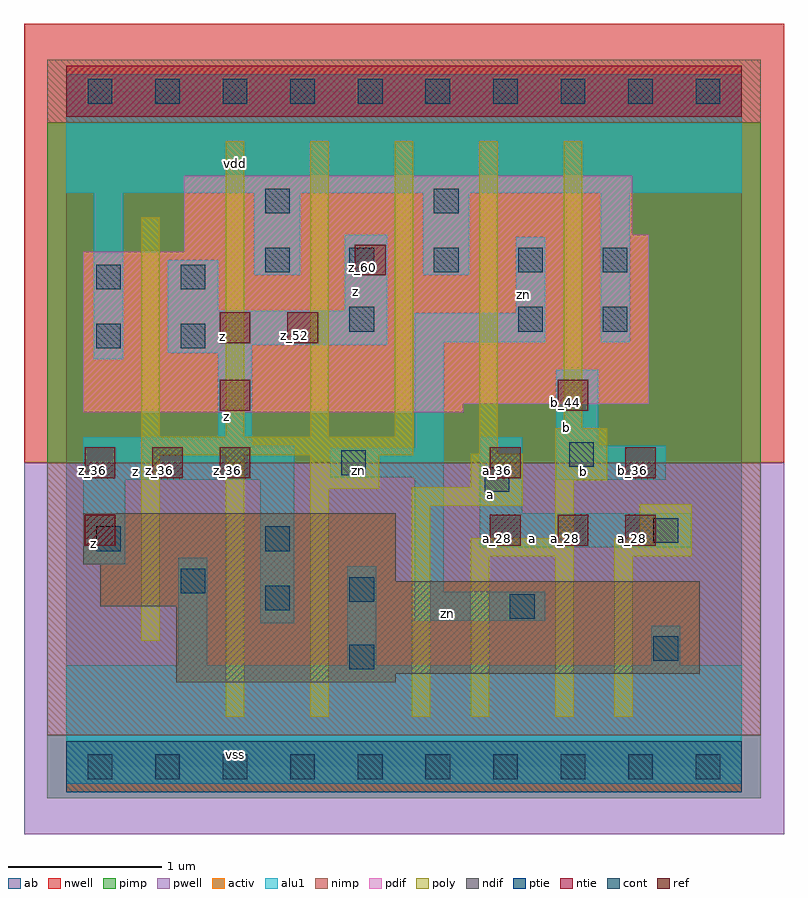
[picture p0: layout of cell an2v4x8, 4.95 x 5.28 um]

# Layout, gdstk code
import gdstk
lib = gdstk.Library(unit=1e-6, precision=2.5e-09)
def R(c, l, rs):  # rectangles x0, y0, x1, y1
    for r in rs: c.add(gdstk.rectangle(r[:2], r[2:], *l))
def A(c, l, x, y, w, h, nx, ny, dx, dy):  # array of equal rectangles
    R(c, l, [(x+i*dx, y+j*dy, x+i*dx+w, y+j*dy+h) for i in range(nx) for j in range(ny)])
ndif = (3, 0)
pdif = (4, 0)
ntie = (5, 0)
ptie = (6, 0)
ref = (24, 0)
cont = (25, 0)
pwell = (41, 0)
nwell = (42, 0)
activ = (43, 0)
pimp = (44, 0)
nimp = (45, 0)
poly = (46, 0)
alu1 = (49, 0)
ab = (63, 0)

an2v4x8 = lib.new_cell('an2v4x8')
R(an2v4x8, ndif, [(0.715,0.55,2.145,0.605), (0.715,0.605,4.125,1.045), (0.22,1.045,4.125,1.21), (0.22,1.21,2.145,1.32), (0.11,1.32,2.145,1.65)])
R(an2v4x8, pdif, [(0.11,2.31,2.585,2.365), (0.11,2.365,3.795,3.355), (0.77,3.355,3.795,3.465), (0.77,3.465,3.685,3.85)])
R(an2v4x8, ntie, [(0,4.235,4.4,4.565)])
R(an2v4x8, ptie, [(0,-0.165,4.4,0.165)])
A(an2v4x8, ref, 2.76, 1.44, 0.2, 0.2, 3, 1, 0.44, 0)
A(an2v4x8, ref, 0.12, 1.88, 0.2, 0.2, 3, 1, 0.44, 0)
R(an2v4x8, ref, [(0.12,1.44,0.32,1.64), (2.76,1.88,2.96,2.08), (3.64,1.88,3.84,2.08), (1,2.32,1.2,2.52), (3.2,2.32,3.4,2.52), (1,2.76,1.2,2.96), (1.44,2.76,1.64,2.96), (1.88,3.2,2.08,3.4)])
A(an2v4x8, cont, 0.14, -0.08, 0.16, 0.16, 10, 2, 0.44, 4.4)
A(an2v4x8, cont, 1.295, 3.22, 0.16, 0.16, 5, 1, 0.55, 0)
R(an2v4x8, cont, [(1.845,0.635,2.005,0.795), (3.825,0.69,3.985,0.85), (2.89,0.965,3.05,1.125), (1.295,1.02,1.455,1.18), (1.845,1.075,2.005,1.235), (0.745,1.13,0.905,1.29), (0.195,1.405,0.355,1.565), (1.295,1.405,1.455,1.565), (3.825,1.46,3.985,1.62), (2.725,1.79,2.885,1.95), (1.79,1.9,1.95,2.06), (3.275,1.955,3.435,2.115), (0.195,2.725,0.355,2.885), (0.745,2.725,0.905,2.885), (1.845,2.835,2.005,2.995), (2.945,2.835,3.105,2.995), (3.495,2.835,3.655,2.995), (0.195,3.11,0.355,3.27), (0.745,3.11,0.905,3.27), (1.295,3.605,1.455,3.765), (2.395,3.605,2.555,3.765)])
R(an2v4x8, pwell, [(-0.275,-0.44,4.675,1.98)])
R(an2v4x8, nwell, [(-0.275,1.98,4.675,4.84)])
R(an2v4x8, activ, [(0,-0.165,4.4,0.165), (0.715,0.55,2.145,0.605), (0.715,0.605,4.125,1.045), (0.22,1.045,4.125,1.21), (0.22,1.21,2.145,1.32), (0.11,1.32,2.145,1.65), (0.11,2.31,2.585,2.365), (0.11,2.365,3.795,3.355), (0.77,3.355,3.795,3.465), (0.77,3.465,3.685,3.85), (0,4.235,4.4,4.565)])
R(an2v4x8, pimp, [(-0.125,-0.205,4.525,0.205), (-0.125,1.98,4.525,4.195)])
R(an2v4x8, nimp, [(-0.125,0.205,4.525,1.98), (-0.125,4.195,4.525,4.605)])
A(an2v4x8, poly, 1.04, 2.15, 0.12, 1.925, 3, 1, 0.55, 0)
R(an2v4x8, poly, [(1.04,0.325,1.16,2.03), (1.59,0.325,1.71,1.81), (2.25,0.325,2.37,1.7), (2.635,0.325,2.755,1.37), (3.185,0.325,3.305,1.37), (3.57,0.325,3.69,1.37), (0.49,0.82,0.61,2.03), (2.635,1.37,3.305,1.49), (3.57,1.37,4.075,1.49), (3.185,1.49,3.305,1.865), (3.735,1.49,4.075,1.71), (2.25,1.7,2.975,1.82), (1.59,1.81,2.04,2.03), (2.635,1.82,2.975,2.04), (3.185,1.865,3.525,2.205), (0.49,2.03,2.26,2.15), (2.69,2.04,2.81,4.075), (0.49,2.15,0.61,3.58), (3.24,2.205,3.36,4.075)])
R(an2v4x8, alu1, [(0,-0.11,4.4,0.66), (0.73,0.66,0.92,1.36), (1.83,0.66,2.02,1.305), (3.81,0.66,4,0.92), (1.265,0.935,1.485,1.87), (2.27,0.95,3.12,1.14), (2.27,1.14,2.46,1.885), (0.11,1.32,0.385,1.87), (2.695,1.43,4.07,1.65), (2.695,1.65,2.97,2.145), (0.11,1.87,1.485,2.09), (3.19,1.87,3.905,2.09), (1.72,1.885,2.46,2.075), (2.27,2.075,2.46,2.765), (0.11,2.09,1.21,2.145), (3.19,2.09,3.465,2.585), (0.99,2.145,1.21,2.695), (0.18,2.655,0.37,3.74), (0.66,2.695,1.21,2.75), (0.66,2.75,2.09,2.97), (2.27,2.765,3.12,2.955), (3.48,2.765,3.67,3.74), (2.93,2.955,3.12,3.45), (0.66,2.97,0.99,3.3), (1.815,2.97,2.09,3.465), (1.225,3.205,1.525,3.74), (2.325,3.205,2.625,3.74), (0,3.74,4.4,4.51)])
R(an2v4x8, ab, [(0,0,4.4,4.4)])
an2v4x8.add(gdstk.Label('vss', (1.1,0.0825), layer=49, texttype=0))
an2v4x8.add(gdstk.Label('zn', (2.4825,0.9975), layer=49, texttype=0))
an2v4x8.add(gdstk.Label('a', (3.0375,1.485), layer=49, texttype=0))
an2v4x8.add(gdstk.Label('b', (3.3675,1.925), layer=49, texttype=0))
an2v4x8.add(gdstk.Label('b', (3.2575,2.2125), layer=49, texttype=0))
an2v4x8.add(gdstk.Label('a', (2.7625,1.7725), layer=49, texttype=0))
an2v4x8.add(gdstk.Label('z', (0.1775,1.4575), layer=49, texttype=0))
an2v4x8.add(gdstk.Label('zn', (1.905,1.9325), layer=49, texttype=0))
an2v4x8.add(gdstk.Label('z', (0.4525,1.925), layer=49, texttype=0))
an2v4x8.add(gdstk.Label('z', (1.045,2.2825), layer=49, texttype=0))
an2v4x8.add(gdstk.Label('zn', (2.9775,3.0775), layer=49, texttype=0))
an2v4x8.add(gdstk.Label('z', (1.0175,2.805), layer=49, texttype=0))
an2v4x8.add(gdstk.Label('z', (1.8825,3.0925), layer=49, texttype=0))
an2v4x8.add(gdstk.Label('vdd', (1.1,3.9325), layer=49, texttype=0))
an2v4x8.add(gdstk.Label('b_36', (3.69,1.93), layer=24, texttype=0))
an2v4x8.add(gdstk.Label('a_28', (3.69,1.49), layer=24, texttype=0))
an2v4x8.add(gdstk.Label('b_44', (3.25,2.37), layer=24, texttype=0))
an2v4x8.add(gdstk.Label('a_28', (3.25,1.49), layer=24, texttype=0))
an2v4x8.add(gdstk.Label('a_36', (2.81,1.93), layer=24, texttype=0))
an2v4x8.add(gdstk.Label('a_28', (2.81,1.49), layer=24, texttype=0))
an2v4x8.add(gdstk.Label('z_36', (0.17,1.93), layer=24, texttype=0))
an2v4x8.add(gdstk.Label('z_28', (0.17,1.49), layer=24, texttype=0))
an2v4x8.add(gdstk.Label('z_60', (1.93,3.25), layer=24, texttype=0))
an2v4x8.add(gdstk.Label('z_52', (1.49,2.81), layer=24, texttype=0))
an2v4x8.add(gdstk.Label('z_52', (1.05,2.81), layer=24, texttype=0))
an2v4x8.add(gdstk.Label('z_44', (1.05,2.37), layer=24, texttype=0))
an2v4x8.add(gdstk.Label('z_36', (1.05,1.93), layer=24, texttype=0))
an2v4x8.add(gdstk.Label('z_36', (0.61,1.93), layer=24, texttype=0))

lib.write_gds('an2v4x8.gds')
